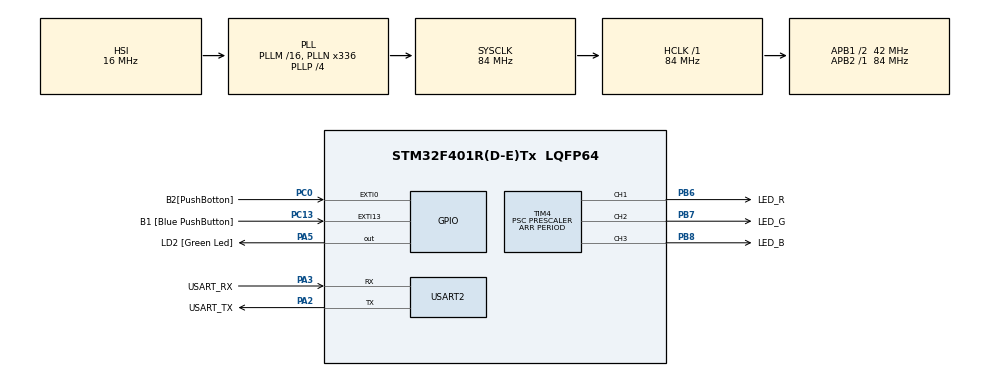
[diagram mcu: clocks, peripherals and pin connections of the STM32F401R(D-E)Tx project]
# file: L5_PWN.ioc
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Mcu.Family=STM32F4
Mcu.Name=STM32F401R(D-E)Tx
Mcu.Package=LQFP64
Mcu.UserConstants=PERIOD,255;PRESCALER,3283
NVIC.EXTI0_IRQn=true\:0\:0\:false\:false\:true\:true
NVIC.PriorityGroup=NVIC_PRIORITYGROUP_0
PA13.GPIO_Label=TMS
PA13.Mode=Serial_Wire
PA13.Signal=SYS_JTMS-SWDIO
PA14.GPIO_Label=TCK
PA14.Mode=Serial_Wire
PA14.Signal=SYS_JTCK-SWCLK
PA2.GPIO_Label=USART_TX
PA2.GPIO_Mode=GPIO_MODE_AF_PP
PA2.GPIO_PuPd=GPIO_NOPULL
PA2.GPIO_Speed=GPIO_SPEED_FREQ_LOW
PA2.Mode=Asynchronous
PA2.Signal=USART2_TX
PA3.GPIO_Label=USART_RX
PA3.GPIO_Mode=GPIO_MODE_AF_PP
PA3.GPIO_PuPd=GPIO_NOPULL
PA3.GPIO_Speed=GPIO_SPEED_FREQ_LOW
PA3.Mode=Asynchronous
PA3.Signal=USART2_RX
PA5.GPIO_Label=LD2 [Green Led]
PA5.GPIO_Mode=GPIO_MODE_OUTPUT_PP
PA5.GPIO_PuPd=GPIO_NOPULL
PA5.GPIO_Speed=GPIO_SPEED_FREQ_LOW
PA5.Signal=GPIO_Output
PB3.GPIO_Label=SWO
PB3.Signal=SYS_JTDO-SWO
PB6.GPIO_Label=LED_R
PB6.Signal=S_TIM4_CH1
PB7.GPIO_Label=LED_G
PB7.Signal=S_TIM4_CH2
PB8.GPIO_Label=LED_B
PB8.Signal=S_TIM4_CH3
PC0.GPIO_Label=B2[PushBotton]
PC0.Signal=GPXTI0
PC13-ANTI_TAMP.GPIO_Label=B1 [Blue PushButton]
PC13-ANTI_TAMP.GPIO_ModeDefaultEXTI=GPIO_MODE_IT_FALLING
PC13-ANTI_TAMP.GPIO_PuPd=GPIO_NOPULL
PC13-ANTI_TAMP.Signal=GPXTI13
PC14-OSC32_IN.Mode=LSE-External-Clock-Source
PC14-OSC32_IN.Signal=RCC_OSC32_IN
PC15-OSC32_OUT.Mode=LSE-External-Clock-Source
PC15-OSC32_OUT.Signal=RCC_OSC32_OUT
PH0\ -\ OSC_IN.Mode=HSE-External-Clock-Source
PH0\ -\ OSC_IN.Signal=RCC_OSC_IN
PH1\ -\ OSC_OUT.Mode=HSE-External-Clock-Source
PH1\ -\ OSC_OUT.Signal=RCC_OSC_OUT
ProjectManager.HeapSize=0x200
ProjectManager.StackSize=0x400
ProjectManager.TargetToolchain=TrueSTUDIO
RCC.48MHZClocksFreq_Value=48000000
RCC.AHBFreq_Value=84000000
RCC.APB1CLKDivider=RCC_HCLK_DIV2
RCC.APB1Freq_Value=42000000
RCC.APB1TimFreq_Value=84000000
RCC.APB2Freq_Value=84000000
RCC.APB2TimFreq_Value=84000000
RCC.CortexFreq_Value=84000000
RCC.HCLKFreq_Value=84000000
RCC.HSE_VALUE=8000000
RCC.HSI_VALUE=16000000
RCC.LSE_VALUE=0.032768
RCC.PLLN=336
RCC.PLLP=RCC_PLLP_DIV4
RCC.PLLQ=7
RCC.SYSCLKFreq_VALUE=84000000
RCC.SYSCLKSource=RCC_SYSCLKSOURCE_PLLCLK
RCC.VCOOutputFreq_Value=336000000
SH.S_TIM4_CH1.0=TIM4_CH1,PWM Generation1 CH1
SH.S_TIM4_CH2.0=TIM4_CH2,PWM Generation2 CH2
SH.S_TIM4_CH3.0=TIM4_CH3,PWM Generation3 CH3
TIM4.Channel-PWM\ Generation1\ CH1=TIM_CHANNEL_1
TIM4.Channel-PWM\ Generation2\ CH2=TIM_CHANNEL_2
TIM4.Channel-PWM\ Generation3\ CH3=TIM_CHANNEL_3
TIM4.Period=PERIOD
TIM4.Prescaler=PRESCALER
USART2.VirtualMode=VM_ASYNC
board=NUCLEO-F401RE

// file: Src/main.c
/**
  ******************************************************************************
  * @file           : main.c
  * @brief          : Main program body
  ******************************************************************************
  ** This notice applies to any and all portions of this file
  * that are not between comment pairs USER CODE BEGIN and
  * USER CODE END. Other portions of this file, whether
  * inserted by the user or by software development tools
  * are owned by their respective copyright owners.
  *
  * COPYRIGHT(c) 2018 STMicroelectronics
  *
  * Redistribution and use in source and binary forms, with or without modification,
  * are permitted provided that the following conditions are met:
  *   1. Redistributions of source code must retain the above copyright notice,
  *      this list of conditions and the following disclaimer.
  *   2. Redistributions in binary form must reproduce the above copyright notice,
  *      this list of conditions and the following disclaimer in the documentation
  *      and/or other materials provided with the distribution.
  *   3. Neither the name of STMicroelectronics nor the names of its contributors
  *      may be used to endorse or promote products derived from this software
  *      without specific prior written permission.
  *
  * THIS SOFTWARE IS PROVIDED BY THE COPYRIGHT HOLDERS AND CONTRIBUTORS "AS IS"
  * AND ANY EXPRESS OR IMPLIED WARRANTIES, INCLUDING, BUT NOT LIMITED TO, THE
  * IMPLIED WARRANTIES OF MERCHANTABILITY AND FITNESS FOR A PARTICULAR PURPOSE ARE
  * DISCLAIMED. IN NO EVENT SHALL THE COPYRIGHT HOLDER OR CONTRIBUTORS BE LIABLE
  * FOR ANY DIRECT, INDIRECT, INCIDENTAL, SPECIAL, EXEMPLARY, OR CONSEQUENTIAL
  * DAMAGES (INCLUDING, BUT NOT LIMITED TO, PROCUREMENT OF SUBSTITUTE GOODS OR
  * SERVICES; LOSS OF USE, DATA, OR PROFITS; OR BUSINESS INTERRUPTION) HOWEVER
  * CAUSED AND ON ANY THEORY OF LIABILITY, WHETHER IN CONTRACT, STRICT LIABILITY,
  * OR TORT (INCLUDING NEGLIGENCE OR OTHERWISE) ARISING IN ANY WAY OUT OF THE USE
  * OF THIS SOFTWARE, EVEN IF ADVISED OF THE POSSIBILITY OF SUCH DAMAGE.
  *
  ******************************************************************************
  */
#include "main.h"
#include "stm32f4xx_hal.h"

TIM_HandleTypeDef htim4;

UART_HandleTypeDef huart2;

/* USER CODE BEGIN PV */
/* Private variables ---------------------------------------------------------*/

typedef enum {PRESSED, nonPRESSED} state_button;
typedef enum {RED, REDWAIT, GREEN, GREENWAIT, BLUE, BLUEWAIT, WHITE, WHITEWAIT,
YELLOW, YELLOWWAIT, LIGHTBLUE, LIGHTBLUEWAIT, PURPLE, PURPLEWAIT, OFF, OFFWAIT,
MAGNETA, MAGNETAWAIT, ORANGE, ORANGEWAIT, GREY, GREYWAIT, MAROON, MAROONWAIT,
PINK, PINKWAIT} state_led;

static state_led ledState = OFF;
static state_button s_button = nonPRESSED;

/* USER CODE END PV */

void SystemClock_Config(void);
static void MX_GPIO_Init(void);
static void MX_USART2_UART_Init(void);
static void MX_TIM4_Init(void);
void HAL_TIM_MspPostInit(TIM_HandleTypeDef *htim);
void changePulse1(uint32_t pulse);
void changePulse2(uint32_t pulse);
void changePulse3(uint32_t pulse);
void walkingLed();

/* USER CODE BEGIN PFP */
/* Private function prototypes -----------------------------------------------*/

/* USER CODE END PFP */

/* USER CODE BEGIN 0 */
void walkingLed(){

	switch(ledState)
	{
		    case OFF:
		    	changePulse1(0);
		    	changePulse2(0);
		    	changePulse3(0);
		    	ledState = OFFWAIT;
		    	break;

		    case OFFWAIT:
		    	if(s_button == PRESSED)
		    	{
		    		ledState = RED;
		    		s_button = nonPRESSED;
		    	}
		    	break;

		    case RED:
		    	changePulse1(255);
		    	changePulse2(0);
		    	changePulse3(0);
		    	ledState = REDWAIT;
		   		break;

		    case REDWAIT:
		    	if(s_button == PRESSED)
		    	{
		    		ledState = GREEN;
		    		s_button = nonPRESSED;
		    	}
		   		break;

		   	case GREEN:
		   		changePulse1(0);
		   		changePulse2(255);
		   		changePulse3(0);
		   		ledState = GREENWAIT;
		  		break;

		    case GREENWAIT:
		    	if(s_button == PRESSED)
		    	{
		    		ledState = BLUE;
		    		s_button = nonPRESSED;
		    	}
		    	break;

		    case BLUE:
		    	changePulse1(0);
		    	changePulse2(0);
		    	changePulse3(255);
		    	ledState = BLUEWAIT;
		 		break;

		    case BLUEWAIT:
		    	if(s_button == PRESSED)
		    	{
		    		ledState = WHITE;
		    		s_button = nonPRESSED;
		    	}
		    	break;

		    case WHITE:
		    	changePulse1(0);
		    	changePulse2(0);
		    	changePulse3(0);
		    	ledState = WHITEWAIT;
		    	break;

		    case WHITEWAIT:
		    	if(s_button == PRESSED)
		    	{
		    		ledState = YELLOW;
		    		s_button = nonPRESSED;
		    	}
		   		break;

		   	case YELLOW:
		   		changePulse1(255);
		   		changePulse2(255);
		   		changePulse3(0);
		   		ledState = YELLOWWAIT;
		    	break;

		    case YELLOWWAIT:
		    	if(s_button == PRESSED)
		    	{
		    		ledState = LIGHTBLUE;
		    		s_button = nonPRESSED;
		    	}
		    	break;

		    case LIGHTBLUE:
		    	changePulse1(0);
		    	changePulse2(255);
		    	changePulse3(255);

		    	ledState = LIGHTBLUEWAIT;
		    	break;

		    case LIGHTBLUEWAIT:
		    	if(s_button == PRESSED)
		    	{
		    		ledState = PURPLE;
		    		s_button = nonPRESSED;
		    	}
		    	break;

		    case PURPLE:
		    	changePulse1(128);
		    	changePulse2(0);
		    	changePulse3(128);
		    	ledState = PURPLEWAIT;
		    	break;

		    case PURPLEWAIT:
		    	if(s_button == PRESSED)
		    	{
		    		ledState = OFF;
		    		s_button = nonPRESSED;
		    	}
		    	break;

		    case MAGNETAWAIT:
		   	    	if(s_button == PRESSED)
		   	    	{
		   	    		ledState = MAGNETA;
		   	    		s_button = nonPRESSED;
		   	    	}
		   	    	break;

		    case MAGNETA:
		   	    	changePulse1(255);
		   	    	changePulse2(0);
		   	    	changePulse3(255);
		   	    	ledState = ORANGEWAIT;
		   	    	break;

		    case ORANGEWAIT:
		    	 if(s_button == PRESSED)
		    	 {
		  	    	ledState = ORANGE;
		    	   	 s_button = nonPRESSED;
		    	 }
		    	   	break;

		    case ORANGE:
		    	 changePulse1(255);
		    	 changePulse2(165);
		    	 changePulse3(0);
		    	 ledState = GREYWAIT;
		    	 break;

		    case GREYWAIT:
		    	 if(s_button == PRESSED)
		    	  {
		    	  	  ledState = GREY;
		    	      s_button = nonPRESSED;
		    	  }
		    	  break;

		    case GREY:
		    	  changePulse1(128);
		    	  changePulse2(128);
		    	  changePulse3(128);
		    	  ledState = MAROONWAIT;
		    	  	  break;

		    case MAROONWAIT:
		    	 if(s_button == PRESSED)
		    	 {
		    	  	  ledState = MAROON;
		    	      s_button = nonPRESSED;
		    	 }
		       	  break;

		    case MAROON:
		   	    changePulse1(128);
		   	    changePulse2(0);
		       	changePulse3(0);
		       	ledState = PINKWAIT;
		       		break;

		    case PINKWAIT:
		   	    if(s_button == PRESSED)
		   	    {
		   	    	ledState = PINK;
		   	    	s_button = nonPRESSED;
		   	    }
		   	       	break;

		    case PINK:
		    	changePulse1(255);
		    	changePulse2(192);
		    	changePulse3(203);
		    	ledState = OFF;
		    	  break;
	}
}
/* USER CODE END 0 */

int main(void)
{

  /* MCU Configuration----------------------------------------------------------*/

  /* Reset of all peripherals, Initializes the Flash interface and the Systick. */
  HAL_Init();

  /* Configure the system clock */
  SystemClock_Config();

  /* Initialize all configured peripherals */
  MX_GPIO_Init();
  MX_USART2_UART_Init();
  MX_TIM4_Init();

  /* Infinite loop */
  /* USER CODE BEGIN WHILE */

  HAL_TIM_PWM_Start(&htim4, TIM_CHANNEL_1);
  HAL_TIM_PWM_Start(&htim4, TIM_CHANNEL_2);
  HAL_TIM_PWM_Start(&htim4, TIM_CHANNEL_3);

  while (1)
  {
	  walkingLed();

  }

  /* USER CODE END WHILE */

}

void SystemClock_Config(void)
{

  RCC_OscInitTypeDef RCC_OscInitStruct;
  RCC_ClkInitTypeDef RCC_ClkInitStruct;

    /**Configure the main internal regulator output voltage
    */
  __HAL_RCC_PWR_CLK_ENABLE();

  __HAL_PWR_VOLTAGESCALING_CONFIG(PWR_REGULATOR_VOLTAGE_SCALE2);

    /**Initializes the CPU, AHB and APB busses clocks
    */
  RCC_OscInitStruct.OscillatorType = RCC_OSCILLATORTYPE_HSI;
  RCC_OscInitStruct.HSIState = RCC_HSI_ON;
  RCC_OscInitStruct.HSICalibrationValue = 16;
  RCC_OscInitStruct.PLL.PLLState = RCC_PLL_ON;
  RCC_OscInitStruct.PLL.PLLSource = RCC_PLLSOURCE_HSI;
  RCC_OscInitStruct.PLL.PLLM = 16;
  RCC_OscInitStruct.PLL.PLLN = 336;
  RCC_OscInitStruct.PLL.PLLP = RCC_PLLP_DIV4;
  RCC_OscInitStruct.PLL.PLLQ = 7;
  if (HAL_RCC_OscConfig(&RCC_OscInitStruct) != HAL_OK)
  {
    _Error_Handler(__FILE__, __LINE__);
  }

    /**Initializes the CPU, AHB and APB busses clocks
    */
  RCC_ClkInitStruct.ClockType = RCC_CLOCKTYPE_HCLK|RCC_CLOCKTYPE_SYSCLK
                              |RCC_CLOCKTYPE_PCLK1|RCC_CLOCKTYPE_PCLK2;
  RCC_ClkInitStruct.SYSCLKSource = RCC_SYSCLKSOURCE_PLLCLK;
  RCC_ClkInitStruct.AHBCLKDivider = RCC_SYSCLK_DIV1;
  RCC_ClkInitStruct.APB1CLKDivider = RCC_HCLK_DIV2;
  RCC_ClkInitStruct.APB2CLKDivider = RCC_HCLK_DIV1;

  if (HAL_RCC_ClockConfig(&RCC_ClkInitStruct, FLASH_LATENCY_2) != HAL_OK)
  {
    _Error_Handler(__FILE__, __LINE__);
  }

    /**Configure the Systick interrupt time
    */
  HAL_SYSTICK_Config(HAL_RCC_GetHCLKFreq()/1000);

    /**Configure the Systick
    */
  HAL_SYSTICK_CLKSourceConfig(SYSTICK_CLKSOURCE_HCLK);

  /* SysTick_IRQn interrupt configuration */
  HAL_NVIC_SetPriority(SysTick_IRQn, 0, 0);
}

/* TIM4 init function */
static void MX_TIM4_Init(void)
{

  TIM_MasterConfigTypeDef sMasterConfig;
  TIM_OC_InitTypeDef sConfigOC;

  htim4.Instance = TIM4;
  htim4.Init.Prescaler = PRESCALER;
  htim4.Init.CounterMode = TIM_COUNTERMODE_UP;
  htim4.Init.Period = PERIOD;
  htim4.Init.ClockDivision = TIM_CLOCKDIVISION_DIV1;
  if (HAL_TIM_PWM_Init(&htim4) != HAL_OK)
  {
    _Error_Handler(__FILE__, __LINE__);
  }

  sMasterConfig.MasterOutputTrigger = TIM_TRGO_RESET;
  sMasterConfig.MasterSlaveMode = TIM_MASTERSLAVEMODE_DISABLE;
  if (HAL_TIMEx_MasterConfigSynchronization(&htim4, &sMasterConfig) != HAL_OK)
  {
    _Error_Handler(__FILE__, __LINE__);
  }

  sConfigOC.OCMode = TIM_OCMODE_PWM1;
  sConfigOC.Pulse = 0;
  sConfigOC.OCPolarity = TIM_OCPOLARITY_HIGH;
  sConfigOC.OCFastMode = TIM_OCFAST_DISABLE;
  if (HAL_TIM_PWM_ConfigChannel(&htim4, &sConfigOC, TIM_CHANNEL_1) != HAL_OK)
  {
    _Error_Handler(__FILE__, __LINE__);
  }

  if (HAL_TIM_PWM_ConfigChannel(&htim4, &sConfigOC, TIM_CHANNEL_2) != HAL_OK)
  {
    _Error_Handler(__FILE__, __LINE__);
  }

  if (HAL_TIM_PWM_ConfigChannel(&htim4, &sConfigOC, TIM_CHANNEL_3) != HAL_OK)
  {
    _Error_Handler(__FILE__, __LINE__);
  }

  HAL_TIM_MspPostInit(&htim4);

}

/* USART2 init function */
static void MX_USART2_UART_Init(void)
{

  huart2.Instance = USART2;
  huart2.Init.BaudRate = 115200;
  huart2.Init.WordLength = UART_WORDLENGTH_8B;
  huart2.Init.StopBits = UART_STOPBITS_1;
  huart2.Init.Parity = UART_PARITY_NONE;
  huart2.Init.Mode = UART_MODE_TX_RX;
  huart2.Init.HwFlowCtl = UART_HWCONTROL_NONE;
  huart2.Init.OverSampling = UART_OVERSAMPLING_16;
  if (HAL_UART_Init(&huart2) != HAL_OK)
  {
    _Error_Handler(__FILE__, __LINE__);
  }

}

/** Configure pins as
        * Analog
        * Input
        * Output
        * EVENT_OUT
        * EXTI
*/
static void MX_GPIO_Init(void)
{

  GPIO_InitTypeDef GPIO_InitStruct;

  /* GPIO Ports Clock Enable */
  __HAL_RCC_GPIOC_CLK_ENABLE();
  __HAL_RCC_GPIOH_CLK_ENABLE();
  __HAL_RCC_GPIOA_CLK_ENABLE();
  __HAL_RCC_GPIOB_CLK_ENABLE();

  /*Configure GPIO pin Output Level */
  HAL_GPIO_WritePin(LD2_GPIO_Port, LD2_Pin, GPIO_PIN_RESET);

  /*Configure GPIO pin : B1_Pin */
  GPIO_InitStruct.Pin = B1_Pin;
  GPIO_InitStruct.Mode = GPIO_MODE_IT_FALLING;
  GPIO_InitStruct.Pull = GPIO_NOPULL;
  HAL_GPIO_Init(B1_GPIO_Port, &GPIO_InitStruct);

  /*Configure GPIO pin : B2_Pin */
  GPIO_InitStruct.Pin = B2_Pin;
  GPIO_InitStruct.Mode = GPIO_MODE_IT_FALLING;
  GPIO_InitStruct.Pull = GPIO_NOPULL;
  HAL_GPIO_Init(B2_GPIO_Port, &GPIO_InitStruct);

  /*Configure GPIO pin : LD2_Pin */
  GPIO_InitStruct.Pin = LD2_Pin;
  GPIO_InitStruct.Mode = GPIO_MODE_OUTPUT_PP;
  GPIO_InitStruct.Pull = GPIO_NOPULL;
  GPIO_InitStruct.Speed = GPIO_SPEED_FREQ_LOW;
  HAL_GPIO_Init(LD2_GPIO_Port, &GPIO_InitStruct);

  /* EXTI interrupt init*/
  HAL_NVIC_SetPriority(EXTI0_IRQn, 0, 0);
  HAL_NVIC_EnableIRQ(EXTI0_IRQn);

}

/* USER CODE BEGIN 4 */

void HAL_GPIO_EXTI_Callback(uint16_t GPIO_Pin){

	if(!HAL_GPIO_ReadPin(B2_GPIO_Port, B2_Pin)){
		s_button = PRESSED;
	}
}

void changePulse1(uint32_t pulse){

	TIM_OC_InitTypeDef sConfigOC;
	sConfigOC.OCMode = TIM_OCMODE_PWM1;
	sConfigOC.Pulse = 255 - pulse;
	sConfigOC.OCPolarity = TIM_OCPOLARITY_HIGH;
	sConfigOC.OCFastMode = TIM_OCFAST_DISABLE;
	HAL_TIM_PWM_ConfigChannel(&htim4, &sConfigOC, TIM_CHANNEL_1);
	HAL_TIM_PWM_Start(&htim4, TIM_CHANNEL_1);
}

void changePulse2(uint32_t pulse){

	TIM_OC_InitTypeDef sConfigOC;
	sConfigOC.OCMode = TIM_OCMODE_PWM1;
	sConfigOC.Pulse = 255 - pulse;
	sConfigOC.OCPolarity = TIM_OCPOLARITY_HIGH;
	sConfigOC.OCFastMode = TIM_OCFAST_DISABLE;
	HAL_TIM_PWM_ConfigChannel(&htim4, &sConfigOC, TIM_CHANNEL_2);
	HAL_TIM_PWM_Start(&htim4, TIM_CHANNEL_2);
}

void changePulse3(uint32_t pulse){

	TIM_OC_InitTypeDef sConfigOC;
	sConfigOC.OCMode = TIM_OCMODE_PWM1;
	sConfigOC.Pulse = 255 - pulse;
	sConfigOC.OCPolarity = TIM_OCPOLARITY_HIGH;
	sConfigOC.OCFastMode = TIM_OCFAST_DISABLE;
	HAL_TIM_PWM_ConfigChannel(&htim4, &sConfigOC, TIM_CHANNEL_3);
	HAL_TIM_PWM_Start(&htim4, TIM_CHANNEL_3);
}

/* USER CODE END 4 */

void _Error_Handler(char *file, int line)
{
  while(1)
  {
  }
}

/************************ (C) COPYRIGHT STMicroelectronics *****END OF FILE****/
